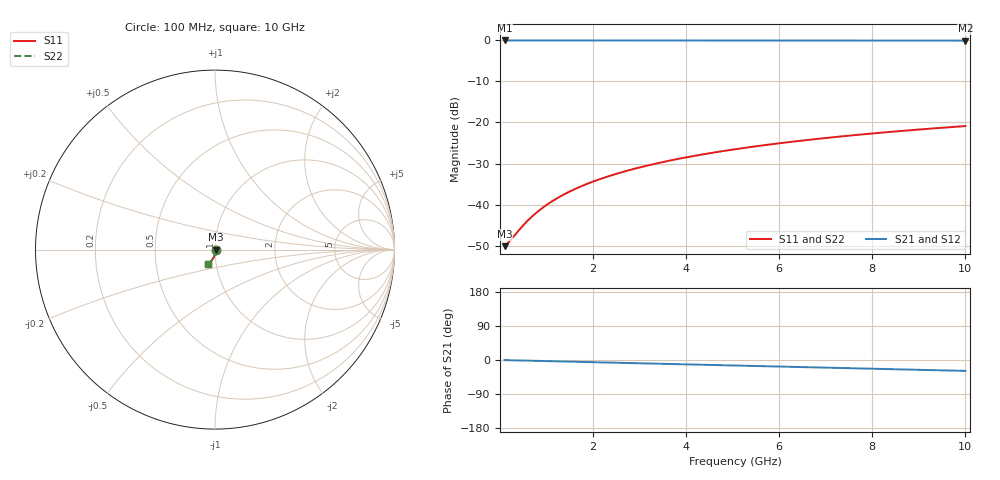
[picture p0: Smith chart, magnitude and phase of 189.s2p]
# Hz S RI R 50.00
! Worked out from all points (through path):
!   100 points, 100 MHz to 10 GHz, reference 50 ohm
!   highest |S21| = -0.03 dB at 100 MHz (marker M1); lowest = -0.1 dB at 10 GHz (marker M2)
!   group delay of S21, straight-line fit = 7.99 ps
!   lowest |S11| = -50.1 dB at 100 MHz (marker M3), VSWR 1.01, Z = 50.3 - j0.0962 ohm
!   |S11| at or under -10 dB: start of sweep to end of sweep
!   |S22| runs from -50.1 to -20.9 dB; largest |S21 - S12| = 0
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1e8  0.00296 -0.000956  0.997 -0.00501  0.997 -0.00501  0.00296 -0.000956
2e8  0.00296 -0.00191  0.997 -0.01  0.997 -0.01  0.00296 -0.00191
4e8  0.00293 -0.00382  0.9968 -0.02  0.9968 -0.02  0.00293 -0.00382
5e8  0.00289 -0.00478  0.9966 -0.025  0.9966 -0.025  0.00289 -0.00478
6e8  0.00285 -0.00573  0.9965 -0.0301  0.9965 -0.0301  0.00285 -0.00573
7e8  0.00279 -0.00669  0.9963 -0.0351  0.9963 -0.0351  0.00279 -0.00669
9e8  0.00265 -0.00859  0.9959 -0.0451  0.9959 -0.0451  0.00265 -0.00859
1.1e9  0.00246 -0.0105  0.9953 -0.0551  0.9953 -0.0551  0.00246 -0.0105
1.3e9  0.00224 -0.0124  0.9947 -0.0651  0.9947 -0.0651  0.00224 -0.0124
1.5e9  0.00198 -0.0143  0.9939 -0.0751  0.9939 -0.0751  0.00198 -0.0143
1.8e9  0.00152 -0.0171  0.9926 -0.09  0.9926 -0.09  0.00152 -0.0171
2.1e9  0.000966 -0.0199  0.9911 -0.105  0.9911 -0.105  0.000966 -0.0199
2.5e9  0.000101 -0.0237  0.9887 -0.1249  0.9887 -0.1249  0.000101 -0.0237
2.9e9  -0.000913 -0.0274  0.9858 -0.1447  0.9858 -0.1447  -0.000913 -0.0274
3.4e9  -0.00239 -0.0319  0.9817 -0.1694  0.9817 -0.1694  -0.00239 -0.0319
4.2e9  -0.00521 -0.039  0.9738 -0.2086  0.9738 -0.2086  -0.00521 -0.039
5.1e9  -0.00906 -0.0467  0.9629 -0.2523  0.9629 -0.2523  -0.00906 -0.0467
5.9e9  -0.013 -0.0533  0.9516 -0.2907  0.9516 -0.2907  -0.013 -0.0533
6.7e9  -0.0175 -0.0594  0.9387 -0.3285  0.9387 -0.3285  -0.0175 -0.0594
7.5e9  -0.0225 -0.0653  0.9243 -0.3657  0.9243 -0.3657  -0.0225 -0.0653
8.4e9  -0.0286 -0.0713  0.9063 -0.4068  0.9063 -0.4068  -0.0286 -0.0713
1e10  -0.0407 -0.0806  0.8697 -0.4774  0.8697 -0.4774  -0.0407 -0.0806
